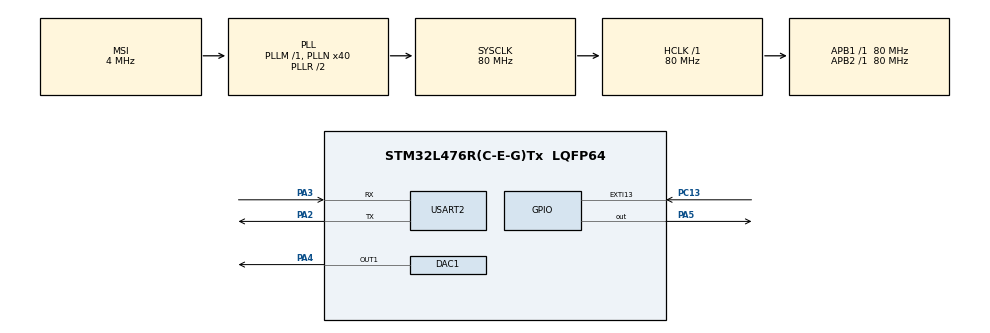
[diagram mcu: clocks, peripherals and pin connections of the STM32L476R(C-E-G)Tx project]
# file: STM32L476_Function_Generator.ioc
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Mcu.Family=STM32L4
Mcu.Name=STM32L476R(C-E-G)Tx
Mcu.Package=LQFP64
NVIC.EXTI15_10_IRQn=true\:0\:0\:false\:false\:true\:true\:true\:true
NVIC.PriorityGroup=NVIC_PRIORITYGROUP_4
NVIC.TIM2_IRQn=true\:0\:0\:false\:false\:true\:true\:true\:true
NVIC.TIM3_IRQn=true\:0\:0\:false\:false\:true\:true\:true\:true
PA2.Mode=Asynchronous
PA2.Signal=USART2_TX
PA3.Mode=Asynchronous
PA3.Signal=USART2_RX
PA4.Signal=COMP_DAC11_group
PA5.Signal=GPIO_Output
PC13.GPIO_ModeDefaultEXTI=GPIO_MODE_IT_FALLING
PC13.GPIO_PuPd=GPIO_NOPULL
PC13.Signal=GPXTI13
PH0-OSC_IN\ (PH0).Mode=HSE-External-Oscillator
PH0-OSC_IN\ (PH0).Signal=RCC_OSC_IN
PH1-OSC_OUT\ (PH1).Mode=HSE-External-Oscillator
PH1-OSC_OUT\ (PH1).Signal=RCC_OSC_OUT
ProjectManager.HeapSize=0x200
ProjectManager.StackSize=0x400
ProjectManager.TargetToolchain=STM32CubeIDE
RCC.ADCFreq_Value=16000000
RCC.AHBFreq_Value=80000000
RCC.APB1Freq_Value=80000000
RCC.APB1TimFreq_Value=80000000
RCC.APB2Freq_Value=80000000
RCC.APB2TimFreq_Value=80000000
RCC.CortexFreq_Value=80000000
RCC.HCLKFreq_Value=80000000
RCC.HSE_VALUE=8000000
RCC.HSI_VALUE=16000000
RCC.LSE_VALUE=32768
RCC.MSI_VALUE=4000000
RCC.PLLN=40
RCC.SYSCLKFreq_VALUE=80000000
RCC.SYSCLKSource=RCC_SYSCLKSOURCE_PLLCLK
RCC.USBFreq_Value=16000000
RCC.VCOOutputFreq_Value=160000000
SH.COMP_DAC11_group.0=DAC1_OUT1,DAC_OUT1
TIM2.Period=999
TIM2.Prescaler=79
TIM3.Period=999
TIM3.Prescaler=79
USART2.VirtualMode-Asynchronous=VM_ASYNC
VP_TIM2_VS_ClockSourceINT.Mode=Internal
VP_TIM3_VS_ClockSourceINT.Mode=Internal
board=custom

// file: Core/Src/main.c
/* USER CODE BEGIN Header */
/**
  ******************************************************************************
  * @file           : main.c
  * @brief          : Main program body
  ******************************************************************************
  * @attention
  *
  * Copyright (c) 2025 STMicroelectronics.
  * All rights reserved.
  *
  * This software is licensed under terms that can be found in the LICENSE file
  * in the root directory of this software component.
  * If no LICENSE file comes with this software, it is provided AS-IS.
  *
  ******************************************************************************
  */
/* USER CODE END Header */
#include "main.h"

/* USER CODE BEGIN Includes */
#include "stdio.h"
#include "math.h"
/* USER CODE END Includes */

DAC_HandleTypeDef hdac1;

TIM_HandleTypeDef htim2;
TIM_HandleTypeDef htim3;

UART_HandleTypeDef huart2;

/* USER CODE BEGIN PV */
volatile float t = 0.0f;
volatile int i = 0;

/* USER CODE END PV */

void SystemClock_Config(void);
static void MX_GPIO_Init(void);
static void MX_TIM2_Init(void);
static void MX_USART2_UART_Init(void);
static void MX_DAC1_Init(void);
static void MX_TIM3_Init(void);
/* USER CODE BEGIN PFP */
int Signal_Handler(int functionPicker, float t, float F, float a, float A, float C0, float F2,float F1, float A1, float A2, float Amod,float Fmod);
/* USER CODE END PFP */

/* USER CODE BEGIN 0 */
int _write(int file, char *ptr, int len){

	HAL_UART_Transmit(&huart2, (uint8_t*)ptr, len,HAL_MAX_DELAY);

	return len;
}
/* USER CODE END 0 */

int main(void)
{

  /* MCU Configuration--------------------------------------------------------*/

  /* Reset of all peripherals, Initializes the Flash interface and the Systick. */
  HAL_Init();

  /* Configure the system clock */
  SystemClock_Config();

  /* Initialize all configured peripherals */
  MX_GPIO_Init();
  MX_TIM2_Init();
  MX_USART2_UART_Init();
  MX_DAC1_Init();
  MX_TIM3_Init();
  /* USER CODE BEGIN 2 */
  HAL_DAC_Start(&hdac1, DAC_CHANNEL_1);
  /* USER CODE END 2 */

  /* Infinite loop */
  while (1)
  {

  }
}

void SystemClock_Config(void)
{
  RCC_OscInitTypeDef RCC_OscInitStruct = {0};
  RCC_ClkInitTypeDef RCC_ClkInitStruct = {0};

  /** Configure the main internal regulator output voltage
  */
  if (HAL_PWREx_ControlVoltageScaling(PWR_REGULATOR_VOLTAGE_SCALE1) != HAL_OK)
  {
    Error_Handler();
  }

  /** Initializes the RCC Oscillators according to the specified parameters
  * in the RCC_OscInitTypeDef structure.
  */
  RCC_OscInitStruct.OscillatorType = RCC_OSCILLATORTYPE_MSI;
  RCC_OscInitStruct.MSIState = RCC_MSI_ON;
  RCC_OscInitStruct.MSICalibrationValue = 0;
  RCC_OscInitStruct.MSIClockRange = RCC_MSIRANGE_6;
  RCC_OscInitStruct.PLL.PLLState = RCC_PLL_ON;
  RCC_OscInitStruct.PLL.PLLSource = RCC_PLLSOURCE_MSI;
  RCC_OscInitStruct.PLL.PLLM = 1;
  RCC_OscInitStruct.PLL.PLLN = 40;
  RCC_OscInitStruct.PLL.PLLP = RCC_PLLP_DIV7;
  RCC_OscInitStruct.PLL.PLLQ = RCC_PLLQ_DIV2;
  RCC_OscInitStruct.PLL.PLLR = RCC_PLLR_DIV2;
  if (HAL_RCC_OscConfig(&RCC_OscInitStruct) != HAL_OK)
  {
    Error_Handler();
  }

  /** Initializes the CPU, AHB and APB buses clocks
  */
  RCC_ClkInitStruct.ClockType = RCC_CLOCKTYPE_HCLK|RCC_CLOCKTYPE_SYSCLK
                              |RCC_CLOCKTYPE_PCLK1|RCC_CLOCKTYPE_PCLK2;
  RCC_ClkInitStruct.SYSCLKSource = RCC_SYSCLKSOURCE_PLLCLK;
  RCC_ClkInitStruct.AHBCLKDivider = RCC_SYSCLK_DIV1;
  RCC_ClkInitStruct.APB1CLKDivider = RCC_HCLK_DIV1;
  RCC_ClkInitStruct.APB2CLKDivider = RCC_HCLK_DIV1;

  if (HAL_RCC_ClockConfig(&RCC_ClkInitStruct, FLASH_LATENCY_4) != HAL_OK)
  {
    Error_Handler();
  }
}

static void MX_DAC1_Init(void)
{

  DAC_ChannelConfTypeDef sConfig = {0};

  /** DAC Initialization
  */
  hdac1.Instance = DAC1;
  if (HAL_DAC_Init(&hdac1) != HAL_OK)
  {
    Error_Handler();
  }

  /** DAC channel OUT1 config
  */
  sConfig.DAC_SampleAndHold = DAC_SAMPLEANDHOLD_DISABLE;
  sConfig.DAC_Trigger = DAC_TRIGGER_NONE;
  sConfig.DAC_OutputBuffer = DAC_OUTPUTBUFFER_ENABLE;
  sConfig.DAC_ConnectOnChipPeripheral = DAC_CHIPCONNECT_DISABLE;
  sConfig.DAC_UserTrimming = DAC_TRIMMING_FACTORY;
  if (HAL_DAC_ConfigChannel(&hdac1, &sConfig, DAC_CHANNEL_1) != HAL_OK)
  {
    Error_Handler();
  }

}

static void MX_TIM2_Init(void)
{

  TIM_ClockConfigTypeDef sClockSourceConfig = {0};
  TIM_MasterConfigTypeDef sMasterConfig = {0};

  htim2.Instance = TIM2;
  htim2.Init.Prescaler = 79;
  htim2.Init.CounterMode = TIM_COUNTERMODE_UP;
  htim2.Init.Period = 999;
  htim2.Init.ClockDivision = TIM_CLOCKDIVISION_DIV1;
  htim2.Init.AutoReloadPreload = TIM_AUTORELOAD_PRELOAD_DISABLE;
  if (HAL_TIM_Base_Init(&htim2) != HAL_OK)
  {
    Error_Handler();
  }
  sClockSourceConfig.ClockSource = TIM_CLOCKSOURCE_INTERNAL;
  if (HAL_TIM_ConfigClockSource(&htim2, &sClockSourceConfig) != HAL_OK)
  {
    Error_Handler();
  }
  sMasterConfig.MasterOutputTrigger = TIM_TRGO_RESET;
  sMasterConfig.MasterSlaveMode = TIM_MASTERSLAVEMODE_DISABLE;
  if (HAL_TIMEx_MasterConfigSynchronization(&htim2, &sMasterConfig) != HAL_OK)
  {
    Error_Handler();
  }

}

static void MX_TIM3_Init(void)
{

  TIM_ClockConfigTypeDef sClockSourceConfig = {0};
  TIM_MasterConfigTypeDef sMasterConfig = {0};

  htim3.Instance = TIM3;
  htim3.Init.Prescaler = 79;
  htim3.Init.CounterMode = TIM_COUNTERMODE_UP;
  htim3.Init.Period = 999;
  htim3.Init.ClockDivision = TIM_CLOCKDIVISION_DIV1;
  htim3.Init.AutoReloadPreload = TIM_AUTORELOAD_PRELOAD_DISABLE;
  if (HAL_TIM_Base_Init(&htim3) != HAL_OK)
  {
    Error_Handler();
  }
  sClockSourceConfig.ClockSource = TIM_CLOCKSOURCE_INTERNAL;
  if (HAL_TIM_ConfigClockSource(&htim3, &sClockSourceConfig) != HAL_OK)
  {
    Error_Handler();
  }
  sMasterConfig.MasterOutputTrigger = TIM_TRGO_RESET;
  sMasterConfig.MasterSlaveMode = TIM_MASTERSLAVEMODE_DISABLE;
  if (HAL_TIMEx_MasterConfigSynchronization(&htim3, &sMasterConfig) != HAL_OK)
  {
    Error_Handler();
  }

}

static void MX_USART2_UART_Init(void)
{

  huart2.Instance = USART2;
  huart2.Init.BaudRate = 115200;
  huart2.Init.WordLength = UART_WORDLENGTH_8B;
  huart2.Init.StopBits = UART_STOPBITS_1;
  huart2.Init.Parity = UART_PARITY_NONE;
  huart2.Init.Mode = UART_MODE_TX_RX;
  huart2.Init.HwFlowCtl = UART_HWCONTROL_NONE;
  huart2.Init.OverSampling = UART_OVERSAMPLING_16;
  huart2.Init.OneBitSampling = UART_ONE_BIT_SAMPLE_DISABLE;
  huart2.AdvancedInit.AdvFeatureInit = UART_ADVFEATURE_NO_INIT;
  if (HAL_UART_Init(&huart2) != HAL_OK)
  {
    Error_Handler();
  }

}

static void MX_GPIO_Init(void)
{
  GPIO_InitTypeDef GPIO_InitStruct = {0};

  /* GPIO Ports Clock Enable */
  __HAL_RCC_GPIOC_CLK_ENABLE();
  __HAL_RCC_GPIOH_CLK_ENABLE();
  __HAL_RCC_GPIOA_CLK_ENABLE();

  /*Configure GPIO pin Output Level */
  HAL_GPIO_WritePin(GPIOA, GPIO_PIN_5, GPIO_PIN_RESET);

  /*Configure GPIO pin : PC13 */
  GPIO_InitStruct.Pin = GPIO_PIN_13;
  GPIO_InitStruct.Mode = GPIO_MODE_IT_FALLING;
  GPIO_InitStruct.Pull = GPIO_NOPULL;
  HAL_GPIO_Init(GPIOC, &GPIO_InitStruct);

  /*Configure GPIO pin : PA5 */
  GPIO_InitStruct.Pin = GPIO_PIN_5;
  GPIO_InitStruct.Mode = GPIO_MODE_OUTPUT_PP;
  GPIO_InitStruct.Pull = GPIO_NOPULL;
  GPIO_InitStruct.Speed = GPIO_SPEED_FREQ_LOW;
  HAL_GPIO_Init(GPIOA, &GPIO_InitStruct);

  /* EXTI interrupt init*/
  HAL_NVIC_SetPriority(EXTI15_10_IRQn, 0, 0);
  HAL_NVIC_EnableIRQ(EXTI15_10_IRQn);

}

/* USER CODE BEGIN 4 */
int Signal_Handler(int functionPicker, float t, float F, float a, float A, float C0, float F2,float F1, float A1, float A2,float Amod,float Fmod){

	float answer = 0.0f;
    switch(functionPicker){
        case 1: // Експоненційно зростаючий коливальний процес
            answer = C0 + A * ((1 - expf(-a*t*F)) * sinf(2*M_PI*F*t));
            break;

        case 2: // Експоненційно згасаючий коливальний процес
            answer = C0 + A * (expf(-a*t*F) * sinf(2*M_PI*F*t));
            break;

        case 3: // Гармонічний сигнал
            answer = C0 + A * sinf(2*M_PI*F*t);
            break;

        case 5: // AM сигнал
            answer = C0 + A *(0.5f+Amod * sinf(2*M_PI*Fmod*t))*sinf(2*M_PI*F*t);
            break;

        case 6:// Бігармонічний сигнал
            answer = C0 + A1*sinf(2*M_PI*F1*t) + A2*sinf(2*M_PI*F2*t);
            break;

        case 7:// Радіоімпульс
            answer = C0 + A*sinf(2*M_PI*F*t);
            break;
    }
    return answer;
}

void HAL_GPIO_EXTI_Callback(uint16_t GPIO_pin){

	if(GPIO_pin == GPIO_PIN_13){

		HAL_TIM_Base_Start_IT(&htim2);
		HAL_TIM_Base_Stop(&htim3);

	}
}

void HAL_TIM_PeriodElapsedCallback(TIM_HandleTypeDef *htim) {

	if (htim->Instance == TIM2) {

		i++;
        t += 0.001f;

        HAL_DAC_SetValue(&hdac1, DAC_CHANNEL_1, DAC_ALIGN_8B_R,Signal_Handler(2, t, 100, 0.1f, 127, 127, 0,0, 0, 0, 0,0) );

        	if (t >= 0.5f){
        		t = 0.0f;
        	}

        	if (i >= 2000) {
        		HAL_TIM_Base_Stop_IT(&htim2);
        		HAL_TIM_Base_Start_IT(&htim3);
        		i = 0;
        		t = 0.0f;
        	}
    }

    if (htim ->Instance == TIM3){

    		t += 0.001f;

    		if (t >= 0.5f){
    			t = 0.0f;
    		}

    	HAL_DAC_SetValue(&hdac1, DAC_CHANNEL_1, DAC_ALIGN_8B_R,Signal_Handler(3, t, 100, 0.1f, 127, 127, 0, 0, 0, 0,0,0) );
    	printf("%d\r\n", Signal_Handler(3, t, 100, 0.1f, 127, 127, 0, 0, 0, 0, 0,0));

    }
}

/* USER CODE END 4 */

void Error_Handler(void)
{
  __disable_irq();
  while (1)
  {
  }
}
